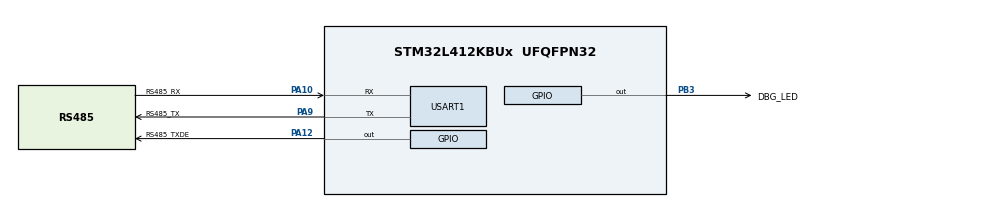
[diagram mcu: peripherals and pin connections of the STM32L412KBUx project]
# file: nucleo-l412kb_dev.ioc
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Dma.Request0=USART1_RX
Dma.Request1=USART1_TX
Dma.USART1_RX.0.Direction=DMA_PERIPH_TO_MEMORY
Dma.USART1_RX.0.Instance=DMA1_Channel5
Dma.USART1_RX.0.MemDataAlignment=DMA_MDATAALIGN_BYTE
Dma.USART1_RX.0.MemInc=DMA_MINC_ENABLE
Dma.USART1_RX.0.Mode=DMA_NORMAL
Dma.USART1_RX.0.PeriphDataAlignment=DMA_PDATAALIGN_BYTE
Dma.USART1_RX.0.PeriphInc=DMA_PINC_DISABLE
Dma.USART1_RX.0.Priority=DMA_PRIORITY_HIGH
Dma.USART1_TX.1.Direction=DMA_MEMORY_TO_PERIPH
Dma.USART1_TX.1.Instance=DMA1_Channel4
Dma.USART1_TX.1.MemDataAlignment=DMA_MDATAALIGN_BYTE
Dma.USART1_TX.1.MemInc=DMA_MINC_ENABLE
Dma.USART1_TX.1.Mode=DMA_NORMAL
Dma.USART1_TX.1.PeriphDataAlignment=DMA_PDATAALIGN_BYTE
Dma.USART1_TX.1.PeriphInc=DMA_PINC_DISABLE
Dma.USART1_TX.1.Priority=DMA_PRIORITY_HIGH
Mcu.Family=STM32L4
Mcu.Name=STM32L412KBUx
Mcu.Package=UFQFPN32
NVIC.DMA1_Channel4_IRQn=true\:0\:0\:false\:false\:true\:false\:true
NVIC.DMA1_Channel5_IRQn=true\:0\:0\:false\:false\:true\:false\:true
NVIC.PriorityGroup=NVIC_PRIORITYGROUP_4
NVIC.USART1_IRQn=true\:8\:0\:true\:false\:true\:true\:true
PA10.GPIO_Label=RS485_RX
PA10.Mode=Asynchronous
PA10.Signal=USART1_RX
PA12.GPIO_Label=RS485_TXDE
PA12.Signal=GPIO_Output
PA13\ (JTMS/SWDIO).GPIO_Label=SWDIO
PA13\ (JTMS/SWDIO).Mode=Serial_Wire
PA13\ (JTMS/SWDIO).Signal=SYS_JTMS-SWDIO
PA14\ (JTCK/SWCLK).GPIO_Label=SWCLK
PA14\ (JTCK/SWCLK).Mode=Serial_Wire
PA14\ (JTCK/SWCLK).Signal=SYS_JTCK-SWCLK
PA9.GPIO_Label=RS485_TX
PA9.Mode=Asynchronous
PA9.Signal=USART1_TX
PB3\ (JTDO/TRACESWO).GPIO_Label=DBG_LED
PB3\ (JTDO/TRACESWO).Signal=GPIO_Output
PC14-OSC32_IN\ (PC14).GPIO_Label=OSC32_IN
PC14-OSC32_IN\ (PC14).Mode=LSE-External-Oscillator
PC14-OSC32_IN\ (PC14).Signal=RCC_OSC32_IN
PC15-OSC32_OUT\ (PC15).GPIO_Label=OSC32_OUT
PC15-OSC32_OUT\ (PC15).Mode=LSE-External-Oscillator
PC15-OSC32_OUT\ (PC15).Signal=RCC_OSC32_OUT
ProjectManager.HeapSize=0x200
ProjectManager.StackSize=0x400
ProjectManager.TargetToolchain=STM32CubeIDE
RCC.ADCFreq_Value=4000000
RCC.AHBFreq_Value=4000000
RCC.APB1Freq_Value=4000000
RCC.APB1TimFreq_Value=4000000
RCC.APB2Freq_Value=4000000
RCC.APB2TimFreq_Value=4000000
RCC.CortexFreq_Value=4000000
RCC.FLatency=FLASH_LATENCY_0
RCC.HCLKFreq_Value=4000000
RCC.HSE_VALUE=8000000
RCC.HSI48_VALUE=48000000
RCC.HSICalibrationValue=16
RCC.HSI_VALUE=16000000
RCC.LSE_Drive_Capability=RCC_LSEDRIVE_LOW
RCC.MSI_VALUE=4000000
RCC.SYSCLKFreq_VALUE=4000000
RCC.USBFreq_Value=4000000
RCC.VCOOutputFreq_Value=32000000
USART1.VirtualMode-Asynchronous=VM_ASYNC
board=NUCLEO-L412KB

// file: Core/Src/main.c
/* USER CODE BEGIN Header */
/**
  ******************************************************************************
  * @file           : main.c
  * @brief          : Main program body
  ******************************************************************************
  * @attention
  *
  * Copyright (c) 2023 STMicroelectronics.
  * All rights reserved.
  *
  * This software is licensed under terms that can be found in the LICENSE file
  * in the root directory of this software component.
  * If no LICENSE file comes with this software, it is provided AS-IS.
  *
  ******************************************************************************
  */
/* USER CODE END Header */
#include "main.h"

/* USER CODE BEGIN PV */
#include <stdio.h>
#include <string.h>
/* USER CODE END PV */

void SystemClock_Config(void);
static void MX_GPIO_Init(void);
static void MX_USART1_UART_Init(void);
static void MX_DMA_Init(void);

/* USER CODE BEGIN 0 */
char buffer[75] = {0};
static uint8_t msgLen = 2;
static void uart_transmitData(void);
static void configureUartDma(const uint32_t dmaDir);
/* USER CODE END 0 */

int main(void)
{

  /* MCU Configuration--------------------------------------------------------*/

  /* Reset of all peripherals, Initializes the Flash interface and the Systick. */

  LL_APB2_GRP1_EnableClock(LL_APB2_GRP1_PERIPH_SYSCFG);
  LL_APB1_GRP1_EnableClock(LL_APB1_GRP1_PERIPH_PWR);

  NVIC_SetPriorityGrouping(NVIC_PRIORITYGROUP_4);

  /* System interrupt init*/

  /* Configure the system clock */
  SystemClock_Config();

  /* Initialize all configured peripherals */
  MX_GPIO_Init();
  MX_USART1_UART_Init();
  MX_DMA_Init();
  /* USER CODE BEGIN 2 */

  //const char payload[8] = "Kamin\r\n";
  //const char payload[6] = "Kamin";

  //const uint8_t payload[8] = {0x4b, 0x61, 0x6d, 0x69, 0x6e, 0x0D, 0x0A};

  /* USER CODE END 2 */

  /* Infinite loop */
  /* USER CODE BEGIN WHILE */
  //RS485_TxEnable();
  LL_USART_EnableIT_RXNE(USART1);
  LL_USART_EnableIT_ERROR(USART1);
  buffer[0] = 0x0A;
  buffer[1] = 0x0D;
  uart_transmitData();
  const char welcome[54] = "\tPlease type a string with a length less than 255.\n\n\r";
  memcpy(buffer, welcome, 53);
  msgLen = 53;
  uart_transmitData();
  buffer[0] = 0x0D;
  buffer[1] = 0x0A;
  while (1)
  {

  }
    /* USER CODE END WHILE */

}

void SystemClock_Config(void)
{
  LL_FLASH_SetLatency(LL_FLASH_LATENCY_0);
  while(LL_FLASH_GetLatency()!= LL_FLASH_LATENCY_0)
  {
  }
  LL_PWR_SetRegulVoltageScaling(LL_PWR_REGU_VOLTAGE_SCALE1);
  LL_RCC_MSI_Enable();

   /* Wait till MSI is ready */
  while(LL_RCC_MSI_IsReady() != 1)
  {

  }
  LL_RCC_MSI_EnableRangeSelection();
  LL_RCC_MSI_SetRange(LL_RCC_MSIRANGE_6);
  LL_RCC_MSI_SetCalibTrimming(0);
  LL_PWR_EnableBkUpAccess();
  LL_RCC_LSE_SetDriveCapability(LL_RCC_LSEDRIVE_LOW);
  LL_RCC_LSE_Enable();

   /* Wait till LSE is ready */
  while(LL_RCC_LSE_IsReady() != 1)
  {

  }
  LL_RCC_MSI_EnablePLLMode();
  LL_RCC_SetSysClkSource(LL_RCC_SYS_CLKSOURCE_MSI);

   /* Wait till System clock is ready */
  while(LL_RCC_GetSysClkSource() != LL_RCC_SYS_CLKSOURCE_STATUS_MSI)
  {

  }
  LL_RCC_SetAHBPrescaler(LL_RCC_SYSCLK_DIV_1);
  LL_RCC_SetAPB1Prescaler(LL_RCC_APB1_DIV_1);
  LL_RCC_SetAPB2Prescaler(LL_RCC_APB2_DIV_1);

  LL_Init1msTick(4000000);

  LL_SetSystemCoreClock(4000000);
}

static void MX_USART1_UART_Init(void)
{

  /* USER CODE BEGIN USART1_Init 0 */

	LL_GPIO_InitTypeDef GPIO_InitStruct = { 0 };

	// Peripheral clock enable //
	LL_APB2_GRP1_EnableClock(LL_APB2_GRP1_PERIPH_USART1);
	LL_AHB2_GRP1_EnableClock(LL_AHB2_GRP1_PERIPH_GPIOA);
	// USART1 GPIO Configuration
	// PA9   ------>  RS485_TX
	// PA10  ------>  RS485_RX
	// PA12  ------>  RS485_TXDE

	GPIO_InitStruct.Pin = RS485_TX_Pin | RS485_RX_Pin;
	GPIO_InitStruct.Mode = LL_GPIO_MODE_ALTERNATE;
	GPIO_InitStruct.Speed = LL_GPIO_SPEED_FREQ_VERY_HIGH;
	GPIO_InitStruct.OutputType = LL_GPIO_OUTPUT_PUSHPULL;
	GPIO_InitStruct.Pull = LL_GPIO_PULL_NO;
	GPIO_InitStruct.Alternate = LL_GPIO_AF_7;
	LL_GPIO_Init(RS485_GPIO_Port, &GPIO_InitStruct);

	// USART1 interrupt Init
	NVIC_SetPriority(USART1_IRQn, NVIC_EncodePriority(NVIC_GetPriorityGrouping(), 8, 0));
	NVIC_EnableIRQ(USART1_IRQn);

	LL_RCC_SetUSARTClockSource(LL_RCC_USART1_CLKSOURCE_SYSCLK);

	// TX/RX direction
	LL_USART_SetTransferDirection(USART1, LL_USART_DIRECTION_TX_RX);

	// 8 data bit, 1 start bit, 1 stop bit, no parity
	// Set the PS, PCE, M1, and M2 bits in USART_CR1 register and the STOP bit in USART_CR2 register
	LL_USART_ConfigCharacter(USART1, LL_USART_DATAWIDTH_8B, LL_USART_PARITY_NONE, LL_USART_STOPBITS_1); // Not needed since default values

	// Configure transfer bit order : MSB first
	LL_USART_SetTransferBitOrder(USART1, LL_USART_BITORDER_LSBFIRST); // Not needed

	// Configure Clock signal format as: Phase 2 edges, Polarity Low, Last Bit Clock output enabled
	// Sets the CPHA [9], CPOL [10], and LBCL [8] bits in USART_CR2 register.
	LL_USART_ConfigClock(USART1, LL_USART_PHASE_2EDGE, LL_USART_POLARITY_LOW, LL_USART_LASTCLKPULSE_OUTPUT);

	// Configure USART BRR register for achieving expected Baud Rate value.
	const uint32_t oversampling_mode = LL_USART_OVERSAMPLING_16; // Define
	uint32_t periph_clk = LL_RCC_GetUSARTClockFreq(LL_RCC_USART1_CLKSOURCE);
	const uint32_t baudrate = 115200;
	// Compute and set USARTDIV value in BRR Register (full BRR content) according to used Peripheral Clock, Oversampling
	// mode, and expected Baud Rate values
	LL_USART_SetBaudRate(USART1, periph_clk, oversampling_mode, baudrate);

	// Enable Driver Enable (DE) mode.
	// Instead of toggling the DEM bit in the USART_CR3 register (LL_USART_DisableDEMode and LL_USART_EnableDEMode),
	// the RS485 driver will enabled/disabled by the defined commands RS485_TxEnable() and RS485_TxDisable().
	// ... FIXME, can the LL_USART_EnableDEMode() command below be removed?
	LL_USART_EnableDEMode(USART1);

	// Select Driver Enable Polarity. Setting the DEP bit in the USART_CR3 register.
	LL_USART_SetDESignalPolarity(USART1, LL_USART_DE_POLARITY_HIGH);

	// Set DEAT (Driver Enable Assertion Time) bits in USART_CR1 register. Time value expressed on 5 bits ([4:0] bits).
	// This 5-bit value defines the time between the activation of the DE (Driver Enable) signal and
	// the beginning of the start bit.
	// ... FIXME, can this be removed since LL_USART_DisableDEMode and LL_USART_EnableDEMode aren't used?
	LL_USART_SetDEAssertionTime(USART1, 31u); // 31 = 0001 1111

	// Set DEDT (Driver Enable De-assertion Time) bits in USART_CR1 register. This 5-bit value defines the time between
	// the end of the last stop bit, in a transmitted message, and the de-activation of the DE (Driver Enable) signal.
	// ... FIXME, can this be removed since LL_USART_DisableDEMode and LL_USART_EnableDEMode aren't used?
	LL_USART_SetDEDeassertionTime(USART1, 31u);

	//
	LL_USART_Enable(USART1);

	// Polling USART initialization
	uint16_t nbrloops = 0;
	while (1u) {
		uint32_t teack = LL_USART_IsActiveFlag_TEACK(USART1); // Check if the USART Transmit Enable Acknowledge Flag is set or not.
		uint32_t reack = LL_USART_IsActiveFlag_REACK(USART1); // Check if the USART Receive Enable Acknowledge Flag is set or not.
		nbrloops++;
		if ((teack == 0u) || (reack == 0u)) {

		} else {
			// Both are NOT zero
			break;
		}
		if (nbrloops > 10000) {
			DBG_LED_On(); // Debug LED lit up to inform that something is wrong.
			//_NOP();
		}
	}
	//USER CODE END USART1_Init 0

	// USART1 DMA Init

	// USART1_RX Init
	LL_DMA_SetPeriphRequest(DMA1, LL_DMA_CHANNEL_5, LL_DMA_REQUEST_2);

	LL_DMA_SetDataTransferDirection(DMA1, LL_DMA_CHANNEL_5, LL_DMA_DIRECTION_PERIPH_TO_MEMORY);

	LL_DMA_SetChannelPriorityLevel(DMA1, LL_DMA_CHANNEL_5,
				LL_DMA_PRIORITY_HIGH);

	LL_DMA_SetMode(DMA1, LL_DMA_CHANNEL_5, LL_DMA_MODE_NORMAL);

	LL_DMA_SetPeriphIncMode(DMA1, LL_DMA_CHANNEL_5,
				LL_DMA_PERIPH_NOINCREMENT);

	LL_DMA_SetMemoryIncMode(DMA1, LL_DMA_CHANNEL_5,
				LL_DMA_MEMORY_INCREMENT);

	LL_DMA_SetPeriphSize(DMA1, LL_DMA_CHANNEL_5, LL_DMA_PDATAALIGN_BYTE);

	LL_DMA_SetMemorySize(DMA1, LL_DMA_CHANNEL_5, LL_DMA_MDATAALIGN_BYTE);

	// USART1_TX Init
	LL_DMA_SetPeriphRequest(DMA1, LL_DMA_CHANNEL_4, LL_DMA_REQUEST_2);

	LL_DMA_SetDataTransferDirection(DMA1, LL_DMA_CHANNEL_4,
				LL_DMA_DIRECTION_MEMORY_TO_PERIPH);

	LL_DMA_SetChannelPriorityLevel(DMA1, LL_DMA_CHANNEL_4,
				LL_DMA_PRIORITY_HIGH);

	LL_DMA_SetMode(DMA1, LL_DMA_CHANNEL_4, LL_DMA_MODE_NORMAL);

	LL_DMA_SetPeriphIncMode(DMA1, LL_DMA_CHANNEL_4,
				LL_DMA_PERIPH_NOINCREMENT);

	LL_DMA_SetMemoryIncMode(DMA1, LL_DMA_CHANNEL_4,
				LL_DMA_MEMORY_INCREMENT);

	LL_DMA_SetPeriphSize(DMA1, LL_DMA_CHANNEL_4, LL_DMA_PDATAALIGN_BYTE);

	LL_DMA_SetMemorySize(DMA1, LL_DMA_CHANNEL_4, LL_DMA_MDATAALIGN_BYTE);//*/

}

static void MX_DMA_Init(void)
{

  /* Init with LL driver */
  /* DMA controller clock enable */
  LL_AHB1_GRP1_EnableClock(LL_AHB1_GRP1_PERIPH_DMA1);

  /* DMA interrupt init */
  /* DMA1_Channel4_IRQn interrupt configuration */
  NVIC_SetPriority(DMA1_Channel4_IRQn, NVIC_EncodePriority(NVIC_GetPriorityGrouping(),0, 0));
  NVIC_EnableIRQ(DMA1_Channel4_IRQn);
  /* DMA1_Channel5_IRQn interrupt configuration */
  NVIC_SetPriority(DMA1_Channel5_IRQn, NVIC_EncodePriority(NVIC_GetPriorityGrouping(),0, 0));
  NVIC_EnableIRQ(DMA1_Channel5_IRQn);

}

static void MX_GPIO_Init(void)
{
  LL_GPIO_InitTypeDef GPIO_InitStruct = {0};

  /* GPIO Ports Clock Enable */
  LL_AHB2_GRP1_EnableClock(LL_AHB2_GRP1_PERIPH_GPIOC);
  LL_AHB2_GRP1_EnableClock(LL_AHB2_GRP1_PERIPH_GPIOA);
  LL_AHB2_GRP1_EnableClock(LL_AHB2_GRP1_PERIPH_GPIOB);

  /**/
  LL_GPIO_ResetOutputPin(RS485_TXDE_GPIO_Port, RS485_TXDE_Pin);

  /**/
  LL_GPIO_ResetOutputPin(DBG_LED_GPIO_Port, DBG_LED_Pin);

  /**/
  GPIO_InitStruct.Pin = RS485_TXDE_Pin;
  GPIO_InitStruct.Mode = LL_GPIO_MODE_OUTPUT;
  GPIO_InitStruct.Speed = LL_GPIO_SPEED_FREQ_LOW;
  GPIO_InitStruct.OutputType = LL_GPIO_OUTPUT_PUSHPULL;
  GPIO_InitStruct.Pull = LL_GPIO_PULL_NO;
  LL_GPIO_Init(RS485_TXDE_GPIO_Port, &GPIO_InitStruct);

  /**/
  GPIO_InitStruct.Pin = DBG_LED_Pin;
  GPIO_InitStruct.Mode = LL_GPIO_MODE_OUTPUT;
  GPIO_InitStruct.Speed = LL_GPIO_SPEED_FREQ_LOW;
  GPIO_InitStruct.OutputType = LL_GPIO_OUTPUT_PUSHPULL;
  GPIO_InitStruct.Pull = LL_GPIO_PULL_NO;
  LL_GPIO_Init(DBG_LED_GPIO_Port, &GPIO_InitStruct);

}

/* USER CODE BEGIN 4 */
void uart_rx_callback(void)
{
	uint8_t received_char;
	received_char = LL_USART_ReceiveData8(USART1);
	if (received_char == 0x0D) { // if carriage return CR character received, finalize string and send back.
		buffer[msgLen++] = 0x0A;
		buffer[msgLen++] = received_char;
		buffer[msgLen++] = received_char;
		uart_transmitData(); // send back string
		//msgLen = 2;
	}
	else {
		buffer[msgLen++] = received_char;
	}
}

void uart_transmitData(void) {

	LL_USART_DisableIT_RXNE(USART1);
	RS485_TxEnable();
	uint8_t pos = 0;
	while (pos < msgLen) {
		const uint8_t tmp = (uint8_t)buffer[pos++];
	    LL_USART_TransmitData8(USART1, tmp);
	    while(!LL_USART_IsActiveFlag_TXE(USART1)); // Wait until the data in TDR has been loaded to the TX shift-register.
	}
	// To ensure that the transmit of the last bit has been finalized i.e., that the transmit from
	// tx shift-register to tx pin is complete, await the Transmit Complete to be set.
	while(!LL_USART_IsActiveFlag_TC(USART1));
	RS485_TxDisable();
	LL_USART_EnableIT_RXNE(USART1);
	msgLen = 2;

}

void configureUartDma(const uint32_t dmaDir) {

}
/* USER CODE END 4 */

void Error_Handler(void)
{
  __disable_irq();
  while (1)
  {
  }
}
